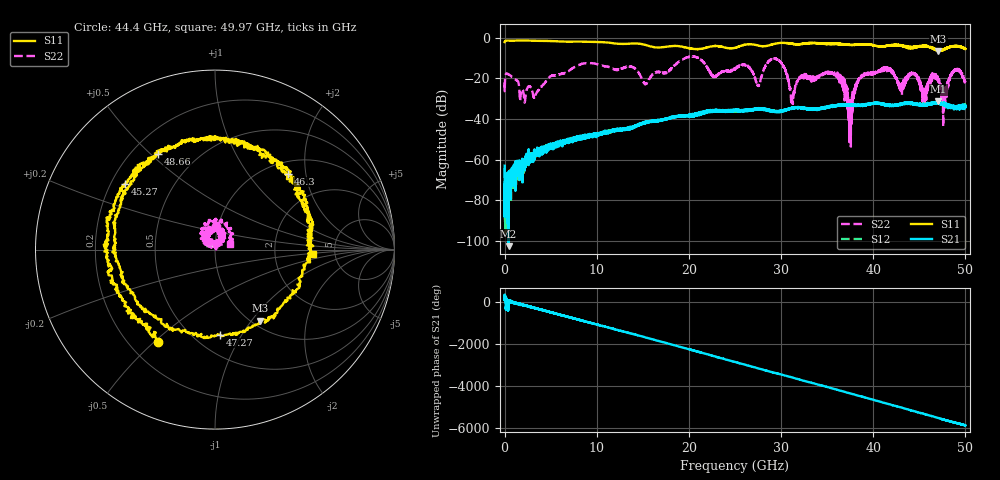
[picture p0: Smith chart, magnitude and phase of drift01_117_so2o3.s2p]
!Created with skrf (http://scikit-rf.org).
# Hz S RI R 50.0
!freq ReS11 ImS11 ReS21 ImS21 ReS12 ImS12 ReS22 ImS22
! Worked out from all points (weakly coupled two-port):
!   10001 points, 300 kHz to 50 GHz, reference 50 ohm
!   highest |S21| = -31.32 dB at 47.07 GHz (marker M1); lowest = -102.5 dB at 430.3 MHz (marker M2)
!   lowest |S11| = -6.6 dB at 47.08 GHz (marker M3), VSWR 2.76, Z = 54.3 - j55 ohm
!   |S11| at or under -10 dB: nowhere
!   |S22| runs from -53.6 to -9.2 dB; largest |S21 - S12| = 0.0036
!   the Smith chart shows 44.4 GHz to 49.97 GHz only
!   S11 on the Smith chart (normalised r, x): 44.4 GHz: 0.32, -0.51; 45.27 GHz: 0.26, +0.31; 46.3 GHz: 1.23, +1.59; 47.27 GHz: 0.66, -0.81; 48.66 GHz: 0.30, +0.53; 49.97 GHz: 3.40, -0.24
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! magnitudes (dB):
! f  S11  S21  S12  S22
! 300 kHz  -2.1  -63.0  -64.3  -22.0
! 430.3 MHz  -1.4  -102.5  -72.6  -18.1
! 3.29 GHz  -1.5  -57.7  -56.4  -28.9
! 8.335 GHz  -1.9  -49.1  -49.1  -12.9
! 16.67 GHz  -4.8  -40.8  -40.8  -16.6
! 25 GHz  -5.0  -35.8  -36.3  -15.4
! 29.58 GHz  -2.8  -36.2  -36.3  -10.7
! 31.24 GHz  -2.9  -34.5  -34.6  -32.1
! 33.34 GHz  -2.6  -35.0  -35.1  -20.2
! 36.07 GHz  -2.9  -33.4  -33.1  -18.9
! 37.49 GHz  -3.5  -33.1  -33.1  -37.1
! 38.66 GHz  -3.3  -33.4  -33.3  -19.7
! 41.67 GHz  -3.9  -33.1  -33.3  -15.6
! 44.4 GHz  -4.4  -32.5  -32.5  -17.4
! 45.27 GHz  -4.2  -32.9  -33.2  -24.3
! 46.3 GHz  -4.6  -32.6  -32.4  -19.3
! 47.07 GHz  -6.5  -31.3  -31.7  -21.9
! 47.08 GHz  -6.6  -31.6  -32.0  -22.2
! 47.27 GHz  -6.5  -32.6  -32.3  -23.0
! 48.66 GHz  -4.1  -33.9  -34.2  -17.0
! 49.97 GHz  -5.2  -33.8  -33.5  -21.0
! 50 GHz  -5.5  -33.9  -33.5  -21.9
